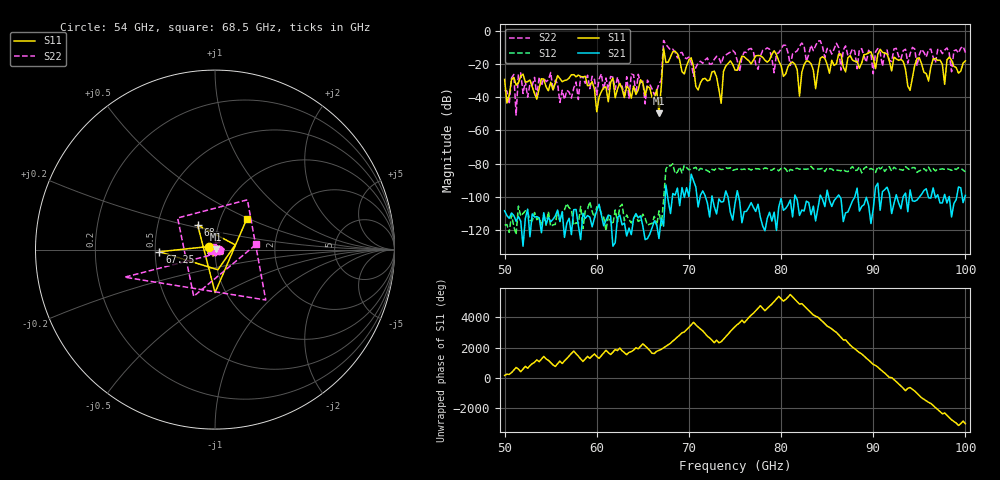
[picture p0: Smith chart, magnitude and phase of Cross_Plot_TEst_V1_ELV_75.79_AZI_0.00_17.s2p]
! 11/25/2026 1:24:10 PM
! C:\ANRITSUVNA\TEMP\TEMP.S2P
! CHANNEL.1
! TR.MEASUREMENT
! RAW.DATA
# HZ S RI R 50.0
! FREQ.HZ  S11RE  S11IM  S21RE  S21IM  S12RE  S12IM  S22RE  S22IM
!; PortSelection: Port_12
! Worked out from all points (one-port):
!   201 points, 50 GHz to 100 GHz, reference 50 ohm
!   lowest |S11| = -49.7 dB at 66.75 GHz (marker M1), VSWR 1.01, Z = 50.3 + j0.0718 ohm
!   |S11| at or under -10 dB: start of sweep to end of sweep
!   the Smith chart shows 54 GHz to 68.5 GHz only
!   S11 on the Smith chart (normalised r, x): 54 GHz: 0.93, +0.03; 67.25 GHz: 0.53, -0.01; 68 GHz: 0.80, +0.22; 68.5 GHz: 1.33, +0.49
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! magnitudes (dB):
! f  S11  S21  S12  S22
! 50 GHz  -29.1  -108.6  -117.3  -35.8
! 51 GHz  -27.9  -111.4  -118.0  -26.2
! 51.25 GHz  -32.6  -114.9  -123.0  -50.7
! 51.5 GHz  -31.2  -112.0  -105.7  -25.7
! 54 GHz  -28.7  -121.9  -117.6  -32.9
! 58.5 GHz  -27.7  -110.1  -119.4  -27.7
! 60 GHz  -48.8  -108.6  -106.2  -38.6
! 61.75 GHz  -28.4  -130.0  -116.8  -27.7
! 66.75 GHz  -49.7  -125.4  -108.6  -31.9
! 67.25 GHz  -10.2  -117.9  -101.9  -5.6
! 68 GHz  -15.5  -110.3  -81.5  -11.3
! 68.5 GHz  -12.1  -99.1  -86.2  -12.6
! 73.5 GHz  -43.6  -103.3  -83.7  -19.7
! 73.75 GHz  -24.4  -103.0  -83.5  -15.4
! 75 GHz  -23.5  -104.3  -83.7  -13.0
! 79.25 GHz  -11.8  -109.4  -83.0  -25.1
! 82 GHz  -39.2  -111.4  -83.4  -9.1
! 83.5 GHz  -23.5  -105.8  -83.4  -11.7
! 91.75 GHz  -18.2  -98.3  -81.9  -17.6
! 94 GHz  -35.7  -96.0  -83.9  -13.7
! 94.75 GHz  -16.5  -102.1  -85.4  -20.9
! 100 GHz  -17.9  -99.3  -85.1  -12.8
